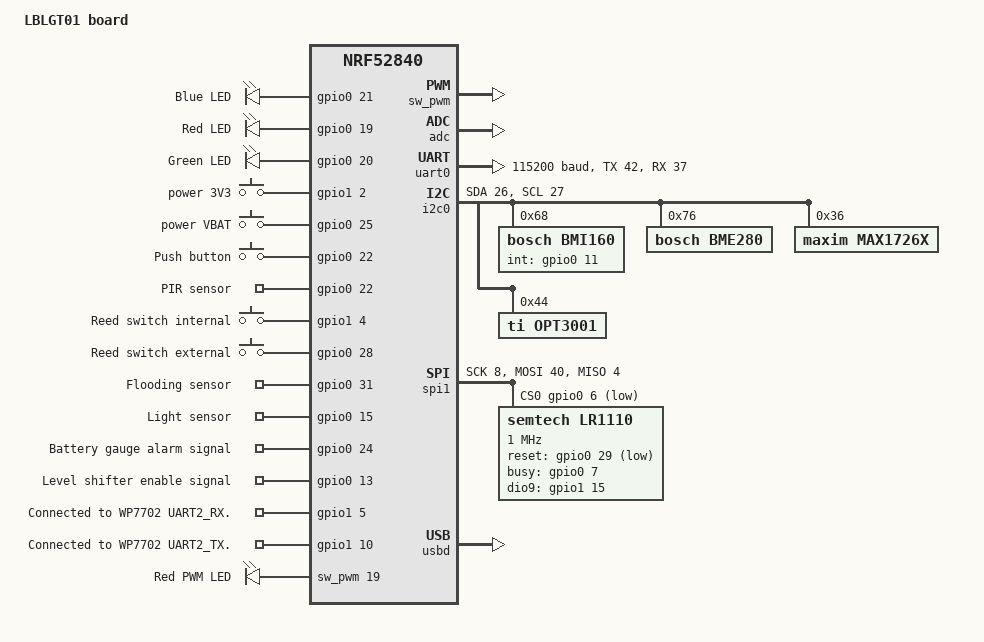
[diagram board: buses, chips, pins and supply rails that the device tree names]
/*
 * Copyright (c) 2019 Laird Connectivity
 *
 * SPDX-License-Identifier: Apache-2.0
 */

/dts-v1/;
#include <nordic/nrf52840_qiaa.dtsi>
#include "dt-bindings/lora/lr1110.h"

/ {
	model = "LBLGT01 board";
	compatible = "nordic,pca10056-dk";

	chosen {
		zephyr,console = &uart0;
		zephyr,uart-mcumgr = &uart0;
		zephyr,bt-mon-uart = &uart0;
		zephyr,bt-c2h-uart = &uart0;
		zephyr,sram = &sram0;
		zephyr,flash = &flash0;
		zephyr,code-partition = &slot0_partition;
	};

	/* Use to control leds with the GPIO driver */
	leds {
		compatible = "gpio-leds";
		led1: led_1 {
			gpios = <&gpio0 21 0>;
			label = "Blue LED";
		};
		led2: led_2 {
			gpios = <&gpio0 19 0>;
			label = "Red LED";
		};
		led3: led_3 {
			gpios = <&gpio0 20 0>;
			label = "Green LED";
		};
	};

	power {
		compatible = "gpio-keys";
		power3v3: power_3v3 {
			gpios = <&gpio1 2 0>;
			label = "power 3V3";
		};
		powerVbat: power_Vbat {
			gpios = <&gpio0 25 0>;
			label = "power VBAT";
		};
	};

	buttons {
		compatible = "gpio-keys";
		button1: button_1 {
			gpios = <&gpio0 22 0>;
			label = "Push button";
		};
		pirSensor: pir_sensor {
			gpios = <&gpio0 22 0>;
			label = "PIR sensor";
		};
		reedSwitchInternal: reed_switch_internal {
			gpios = <&gpio1 4 0>;
			label = "Reed switch internal";
		};
		reedSwitchExternal: reed_switch_external {
			gpios = <&gpio0 28 0>;
			label = "Reed switch external";
		};
		floodingSensor: flooding_sensor {
			gpios = <&gpio0 31 0>;
			label = "Flooding sensor";
		};
		lightSensor: light_sensor {
			gpios = <&gpio0 15 0>;
			label = "Light sensor";
		};
	};

	/* todo : s1613 - Implement drivers support like i2c in the device tree.
	 * This device tree for now is minimalist and only configures the GPIOs.
	 * https://docs.zephyrproject.org/latest/guides/dts/howtos.html
	 */
	battery_alarm {
		compatible = "gpio-keys";
		battery_alarm: battery_alarm {
			gpios = <&gpio0 24 0>;
			label = "Battery gauge alarm signal";
		};
	};

	lvlshifter {
		compatible = "gpio-keys";
		lvlshifter: lvlshifter {
			gpios = <&gpio0 13 0>;
			label = "Level shifter enable signal";
		};
	};

	SENS_GPIO {
		compatible = "gpio-keys";
		sens_uart_console_rx: SENS_UART_CONSOLE_RX {
			gpios = <&gpio1 5 0>;
			label = "Connected to WP7702 UART2_RX.";
		};

		sens_uart_console_tx: SENS_UART_CONSOLE_TX {
			gpios = <&gpio1 10 0>;
			label = "Connected to WP7702 UART2_TX.";
		};
	};

	/* Use to control leds with the PWM-LEDS driver */
	pwmleds {
		compatible = "pwm-leds";
		pwm_led0: pwm_led_0 {
			pwms = <&sw_pwm 19>;
			label = "Red PWM LED";
		};
	};

	aliases {
		/* These aliases are provided for compatibility with samples */
		led0 = &led1;
		led1 = &led2;
		led2 = &led3;
		button-1 = &button1;
		// pir-sensor = &pirSensor;
		reed-switch = &reedSwitchInternal; // Change to reedSwitchExternal for external reed switch
		// flooding-sensor = &floodingSensor;
		light-sensor = &lightSensor;
		/* These aliases are provided to improve code readability */
		led-red = &led2;
		led-green = &led3;
		led-blue = &led1;
		red-pwm-led = &pwm_led0;
		lora0 = &lora;
	};
};

/* The RTC is used instead of nordic Timer due to power consumption contrainst.
 * It means there is only 2 PWM channels instead of 3 (with a timer)
 * and the prescaler has to be set to 0
 */
&sw_pwm {
	compatible = "nordic,nrf-sw-pwm";
	status = "okay";
	label = "SW_PWM";
	generator = <&rtc0>;
	channel-count = <2>;
	clock-prescaler = <0>;
	ppi-base = <0>;
	gpiote-base = <0>;
	#pwm-cells = <1>;
};

&adc {
	status = "okay";
};

&gpiote {
	status = "okay";
};

&gpio0 {
	status = "okay";
};

&gpio1 {
	status = "okay";
};

&uart0 {
	compatible = "nordic,nrf-uart";
	current-speed = <115200>;
	status = "okay";
	tx-pin = <42>;
	rx-pin = <37>;
};


//Uart to grove
/* &uart1 {
	current-speed = <115200>;
	status = "okay";
	tx-pin = <3>;
	rx-pin = <46>;
}; */


&i2c0 {
	compatible = "nordic,nrf-twi";
	status = "okay";
	sda-pin = <26>;
	scl-pin = <27>;
	bmi160:bmi160@68 {
		compatible = "bosch,bmi160";
		reg = <0x68>;
		int-gpios = <&gpio0 11 0>;
		label = "BMI160";
	};
	bme280:bme280@76 {
		compatible = "bosch,bme280";
		reg = <0x76>;
		label = "BME280";
	};
	max17260:max17260@36 {
		compatible = "maxim,max1726x";
		reg = <0x36>;
		label = "MAX1726X";
		design-voltage = <3600>;
		desired-voltage = <4200>;
		desired-charging-current = <89>;
		design-cap = <2160>;
		rsense-mohms = <1>;
		empty-voltage = <3600>;
		recovery-voltage = <3700>;
		charge-voltage = <4200>;
		hibernate-threshold = <12>;
		hibernate-scalar = <4>;
		hibernate-exit-time = <3>;
		hibernate-enter-time = <0>;
		status = "okay";
	};
	opt3001:opt3001@44 {
		compatible = "ti,opt3001";
		label = "OPT3001";
		reg = <0x44>;
	};
};

/*
&i2c1 {
	compatible = "nordic,nrf-twi";
	status = "okay";
	sda-pin = <40>;
	scl-pin = <4>;
};
*/

&spi1 {
	compatible = "nordic,nrf-spi";
	status = "okay";
	sck-pin = <8>;
	mosi-pin = <40>;
	miso-pin = <4>;
	cs-gpios = <&gpio0 6 GPIO_ACTIVE_LOW>;
	lora: lr1110@0 {
		compatible = "semtech,lr1110";
		reg = <0>;
		label = "lr1110";
		reset-gpios = <&gpio0 29 (GPIO_PULL_UP | GPIO_ACTIVE_LOW)>;
		busy-gpios = <&gpio0 7 GPIO_ACTIVE_HIGH>;
		dio9-gpios = <&gpio1 15 GPIO_ACTIVE_HIGH>;
		rf-switch-enable = <(LR1110_SYSTEM_RFSW0_HIGH | LR1110_SYSTEM_RFSW1_HIGH)>;
		rf-switch-tx = <LR1110_SYSTEM_RFSW1_HIGH>;
		rf-switch-rx = <LR1110_SYSTEM_RFSW0_HIGH>;
		spi-max-frequency = <1000000>;
	};
};

&flash0 {

	partitions {
		compatible = "fixed-partitions";
		#address-cells = <1>;
		#size-cells = <1>;

		boot_partition: partition@0 {
			label = "mcuboot";
			reg = <0x000000000 0x0003a000>;
		};
		/*
		 * Overlap "storage_partition"
		 * Mandatory to update file system over the air
		 *
		 * The SMP server stops writing in flash when 
		 * it reaches the end of the partition (here slot0). 
		 * However, we want to transmit Janus (slot0) 
		 * and the file system (storage_partition). 
		 * By enlarging the slot0 partition we simulate a larger
		 * image that would contain Janus and the file system.
		 * Thus, the SMP server can write Janus and 
		 * the file system in flash.
		 */
		slot0_partition: partition@3a000 {
			label = "image-0";
			reg = <0x0003a000 0x000c6000>;
		};
		/*
		 * Phantom partition: DO NOT USE
		 * Only here to allow SMP server flags building
		 * For more details see internal Gitlab project 'aurora' (README.md)
		 */
		slot1_partition: partition@3a001 {
			label = "image-1";
			reg = <0x0003a001 0x00000001>;
		};

		/*
		 * The flash starting at 0x000f8000 and ending at
		 * 0x000fffff is reserved for use by the application.
		 */

		/*
		 * Storage partition will be used by FCB/LittleFS/NVS
		 * if enabled.
		 */
		storage_partition: partition@f8000 {
			label = "storage";
			reg = <0x000f8000 0x00008000>;
		};
	};
};

&usbd {
	compatible = "nordic,nrf-usbd";
	status = "okay";
};
